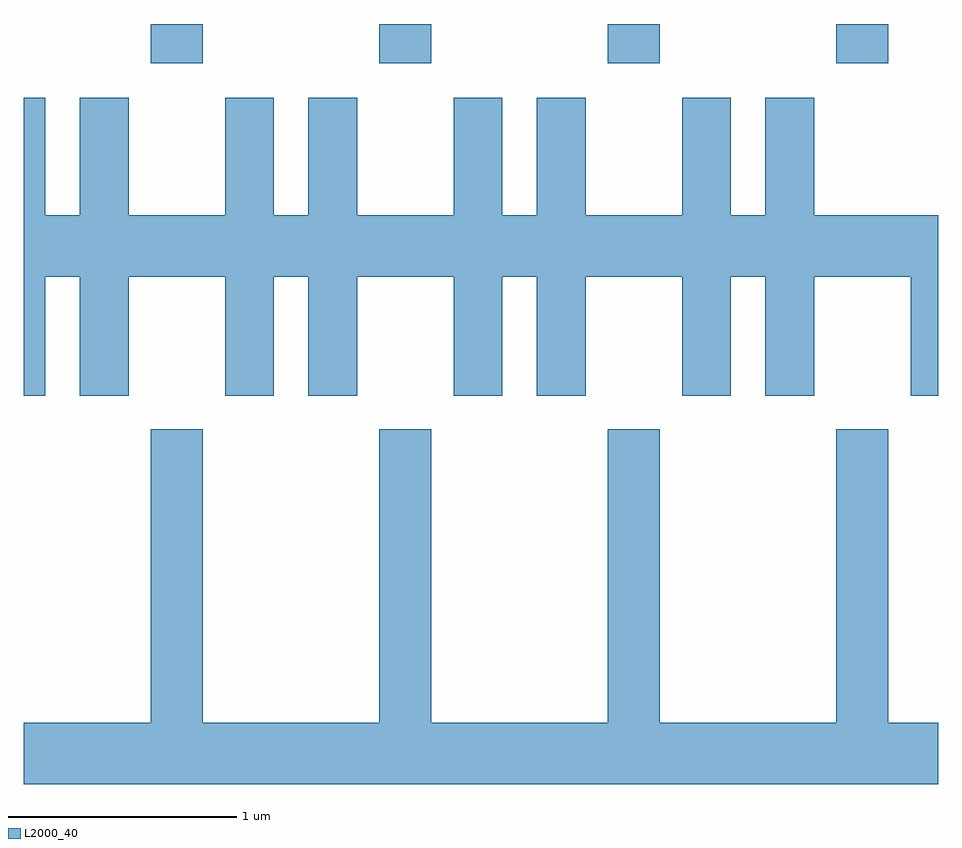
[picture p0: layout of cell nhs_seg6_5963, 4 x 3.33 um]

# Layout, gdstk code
import gdstk
lib = gdstk.Library(unit=1e-6, precision=1e-09)
def R(c, l, rs):  # rectangles x0, y0, x1, y1
    for r in rs: c.add(gdstk.rectangle(r[:2], r[2:], *l))
def A(c, l, x, y, w, h, nx, ny, dx, dy):  # array of equal rectangles
    R(c, l, [(x+i*dx, y+j*dy, x+i*dx+w, y+j*dy+h) for i in range(nx) for j in range(ny)])
def P(c, l, *ps):  # polygons
    for p in ps: c.add(gdstk.Polygon(p, *l))
L2000_40 = (2000, 40)

nhs_seg6_5963 = lib.new_cell('nhs_seg6_5963')
A(nhs_seg6_5963, L2000_40, 366.166, 1641.991, 0.228, 0.171, 4, 1, 1, 0)
P(nhs_seg6_5963, L2000_40, [(367.856,1641.839),(367.856,1641.324),(367.704,1641.324),(367.704,1641.839),(367.491,1641.839),(367.491,1641.324),(367.069,1641.324),(367.069,1641.839),(366.856,1641.839),(366.856,1641.324),(366.704,1641.324),(366.704,1641.839),(366.491,1641.839),(366.491,1641.324),(366.069,1641.324),(366.069,1641.839),(365.856,1641.839),(365.856,1641.324),(365.704,1641.324),(365.704,1641.839),(365.611,1641.839),(365.611,1640.536),(365.704,1640.536),(365.704,1641.056),(365.856,1641.056),(365.856,1640.536),(366.069,1640.536),(366.069,1641.056),(366.491,1641.056),(366.491,1640.536),(366.704,1640.536),(366.704,1641.056),(366.856,1641.056),(366.856,1640.536),(367.069,1640.536),(367.069,1641.056),(367.491,1641.056),(367.491,1640.536),(367.704,1640.536),(367.704,1641.056),(367.856,1641.056),(367.856,1640.536),(368.069,1640.536),(368.069,1641.056),(368.491,1641.056),(368.491,1640.536),(368.704,1640.536),(368.704,1641.056),(368.856,1641.056),(368.856,1640.536),(369.069,1640.536),(369.069,1641.056),(369.491,1641.056),(369.491,1640.536),(369.611,1640.536),(369.611,1641.324),(369.069,1641.324),(369.069,1641.839),(368.856,1641.839),(368.856,1641.324),(368.704,1641.324),(368.704,1641.839),(368.491,1641.839),(368.491,1641.324),(368.069,1641.324),(368.069,1641.839)],
  [(369.611,1639.104),(369.394,1639.104),(369.394,1640.389),(369.166,1640.389),(369.166,1639.104),(368.394,1639.104),(368.394,1640.389),(368.166,1640.389),(368.166,1639.104),(367.394,1639.104),(367.394,1640.389),(367.166,1640.389),(367.166,1639.104),(366.394,1639.104),(366.394,1640.389),(366.166,1640.389),(366.166,1639.104),(365.611,1639.104),(365.611,1638.836),(369.611,1638.836)])

lib.write_gds('nhs_seg6_5963.gds')
